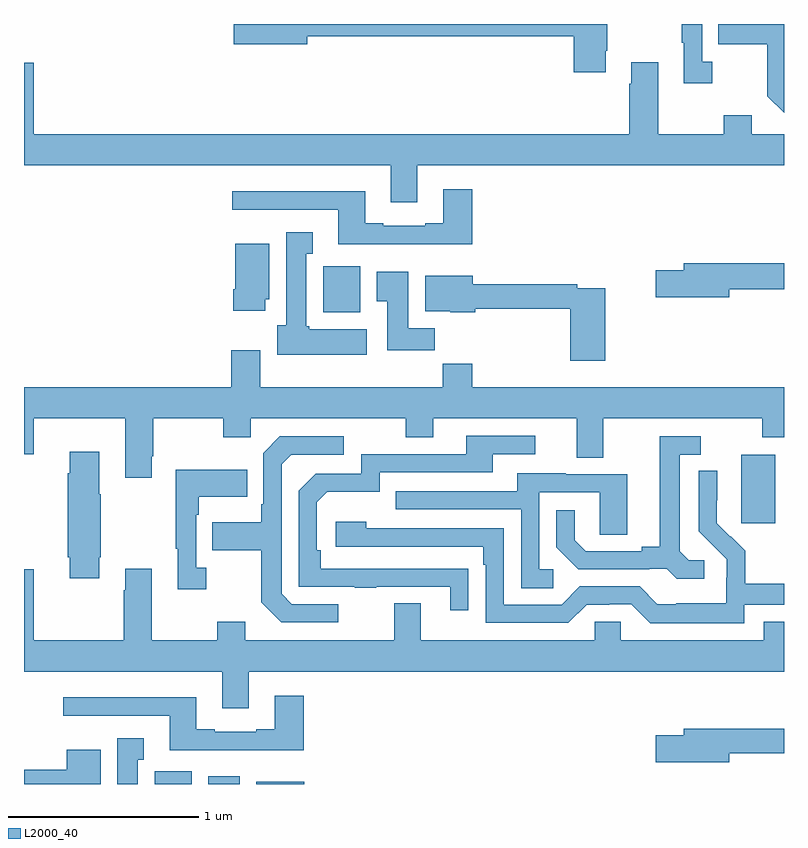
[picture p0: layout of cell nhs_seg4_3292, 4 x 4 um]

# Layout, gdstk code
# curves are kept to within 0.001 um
import gdstk
lib = gdstk.Library(unit=1e-6, precision=1e-09)
def R(c, l, rs):  # rectangles x0, y0, x1, y1
    for r in rs: c.add(gdstk.rectangle(r[:2], r[2:], *l))
def P(c, l, *ps):  # polygons
    for p in ps: c.add(gdstk.Polygon(p, *l))
L2000_40 = (2000, 40)

nhs_seg4_3292 = lib.new_cell('nhs_seg4_3292')
R(nhs_seg4_3292, L2000_40, [(285.687,790.9,285.883,790.968), (285.971,790.9,286.135,790.942), (286.223,790.9,286.474,790.912), (288.776,792.273,288.955,792.634), (286.574,793.382,286.771,793.624)])
P(nhs_seg4_3292, L2000_40, [(288.061,794.758),(288.069,794.758),(288.069,794.9),(286.104,794.9),(286.104,794.794),(286.492,794.794),(286.492,794.836),(287.894,794.836),(287.894,794.646),(288.061,794.646)],
  [(288.622,794.702),(288.57,794.702),(288.57,794.9),(288.462,794.9),(288.462,794.801),(288.473,794.801),(288.473,794.589),(288.622,794.589)],
  [(289,794.9),(288.655,794.9),(288.655,794.794),(288.912,794.794),(288.912,794.521),(289,794.432)],
  [(287.071,794.156),(289,794.156),(289,794.32),(288.829,794.32),(288.829,794.419),(288.682,794.419),(288.682,794.32),(288.337,794.32),(288.337,794.698),(288.197,794.698),(288.197,794.585),(288.185,794.585),(288.185,794.32),(285.052,794.32),(285.052,794.695),(285,794.695),(285,794.156),(286.931,794.156),(286.931,793.962),(287.071,793.962)],
  [(287.36,794.029),(287.207,794.029),(287.207,793.852),(287.111,793.852),(287.111,793.839),(286.891,793.839),(286.891,793.852),(286.795,793.852),(286.795,794.02),(286.095,794.02),(286.095,793.923),(286.655,793.923),(286.655,793.742),(287.36,793.742)],
  [(286.804,793.294),(286.5,793.294),(286.5,793.308),(286.486,793.308),(286.486,793.691),(286.519,793.691),(286.519,793.804),(286.379,793.804),(286.379,793.314),(286.334,793.314),(286.334,793.16),(286.804,793.16)],
  [(286.27,793.452),(286.291,793.452),(286.291,793.744),(286.112,793.744),(286.112,793.504),(286.1,793.504),(286.1,793.392),(286.27,793.392)],
  [(288.712,793.504),(289,793.504),(289,793.64),(288.473,793.64),(288.473,793.604),(288.324,793.604),(288.324,793.462),(288.712,793.462)],
  [(287.162,793.3),(287.023,793.3),(287.023,793.597),(286.856,793.597),(286.856,793.441),(286.913,793.441),(286.913,793.182),(287.162,793.182)],
  [(288.059,793.509),(287.912,793.509),(287.912,793.529),(287.362,793.529),(287.362,793.576),(287.111,793.576),(287.111,793.388),(287.244,793.388),(287.244,793.382),(287.375,793.382),(287.375,793.401),(287.876,793.401),(287.876,793.128),(288.059,793.128)],
  [(285,792.636),(285.052,792.636),(285.052,792.824),(285.533,792.824),(285.533,792.513),(285.673,792.513),(285.673,792.625),(285.681,792.625),(285.681,792.824),(286.048,792.824),(286.048,792.725),(286.194,792.725),(286.194,792.824),(287.008,792.824),(287.008,792.725),(287.155,792.725),(287.155,792.824),(287.909,792.824),(287.909,792.616),(288.049,792.616),(288.049,792.824),(288.886,792.824),(288.886,792.725),(289,792.725),(289,792.988),(287.36,792.988),(287.36,793.112),(287.203,793.112),(287.203,792.988),(286.243,792.988),(286.243,793.183),(286.091,793.183),(286.091,792.988),(285,792.988)],
  [(287.339,792.032),(286.562,792.033),(286.562,792.13),(286.542,792.13),(286.542,792.384),(286.595,792.437),(286.872,792.437),(286.872,792.54),(287.467,792.54),(287.467,792.636),(287.692,792.636),(287.692,792.732),(287.327,792.732),(287.327,792.636),(286.776,792.636),(286.776,792.534),(286.536,792.534),(286.446,792.444),(286.446,791.937),(286.741,791.937),(286.741,791.932),(286.853,791.932),(286.853,791.937),(287.243,791.937),(287.243,791.814),(287.339,791.814)],
  [(288.58,792.078),(288.498,792.078),(288.451,792.125),(288.451,792.633),(288.562,792.633),(288.562,792.729),(288.347,792.729),(288.347,792.149),(288.251,792.149),(288.251,792.126),(287.956,792.126),(287.899,792.183),(287.899,792.34),(287.802,792.34),(287.802,792.146),(287.918,792.03),(288.29,792.03),(288.29,792.033),(288.384,792.033),(288.436,791.981),(288.58,791.981)],
  [(286.654,791.847),(286.41,791.847),(286.356,791.901),(286.356,792.582),(286.407,792.633),(286.684,792.633),(286.684,792.729),(286.347,792.729),(286.26,792.642),(286.26,792.373),(286.248,792.373),(286.248,792.277),(285.991,792.277),(285.991,792.13),(286.248,792.13),(286.248,791.857),(286.353,791.751),(286.654,791.751)],
  [(285.397,792.094),(285.405,792.094),(285.405,792.425),(285.397,792.425),(285.397,792.649),(285.242,792.649),(285.242,792.536),(285.23,792.536),(285.23,792.094),(285.242,792.094),(285.242,791.982),(285.397,791.982)],
  [(285.958,792.038),(285.906,792.038),(285.906,792.317),(285.919,792.317),(285.919,792.413),(286.175,792.413),(286.175,792.553),(285.798,792.553),(285.798,792.137),(285.809,792.137),(285.809,791.925),(285.958,791.925)],
  [(288.792,791.844),(289,791.844),(289,791.953),(288.797,791.953),(288.797,792.127),(288.72,792.204),(288.717,792.201),(288.647,792.272),(288.648,792.548),(288.552,792.548),(288.552,792.23),(288.698,792.082),(288.698,791.985),(288.696,791.985),(288.696,791.851),(288.433,791.851),(288.433,791.847),(288.333,791.847),(288.24,791.94),(287.925,791.94),(287.829,791.844),(287.526,791.844),(287.526,792.246),(286.802,792.246),(286.802,792.28),(286.641,792.28),(286.641,792.15),(287.417,792.15),(287.417,792.053),(287.43,792.053),(287.43,791.748),(287.865,791.748),(287.961,791.844),(288.08,791.844),(288.08,791.847),(288.195,791.847),(288.295,791.747),(288.792,791.747)],
  [(287.785,792.03),(287.712,792.03),(287.712,792.435),(288.03,792.435),(288.03,792.211),(288.175,792.211),(288.175,792.531),(287.851,792.531),(287.851,792.535),(287.597,792.535),(287.597,792.441),(286.957,792.441),(286.957,792.345),(287.616,792.345),(287.616,791.929),(287.785,791.929)],
  [(286.183,791.492),(289,791.492),(289,791.755),(288.893,791.755),(288.893,791.656),(288.141,791.656),(288.141,791.754),(288.003,791.754),(288.003,791.656),(287.089,791.656),(287.089,791.851),(286.949,791.851),(286.949,791.656),(286.165,791.656),(286.165,791.755),(286.018,791.755),(286.018,791.656),(285.673,791.656),(285.673,792.034),(285.533,792.034),(285.533,791.921),(285.526,791.921),(285.526,791.656),(285.052,791.656),(285.052,792.031),(285,792.031),(285,791.492),(286.043,791.492),(286.043,791.298),(286.183,791.298)],
  [(286.472,791.365),(286.319,791.365),(286.319,791.188),(286.223,791.188),(286.223,791.175),(286.003,791.175),(286.003,791.188),(285.907,791.188),(285.907,791.356),(285.207,791.356),(285.207,791.259),(285.767,791.259),(285.767,791.078),(286.472,791.078)],
  [(288.712,791.062),(289,791.062),(289,791.191),(288.473,791.191),(288.473,791.157),(288.324,791.157),(288.324,791.015),(288.712,791.015)],
  [(285.598,791.027),(285.631,791.027),(285.631,791.14),(285.491,791.14),(285.491,790.9),(285.598,790.9)],
  [(285.403,791.08),(285.224,791.08),(285.224,790.976),(285,790.976),(285,790.9),(285.403,790.9)])

lib.write_gds('nhs_seg4_3292.gds')
